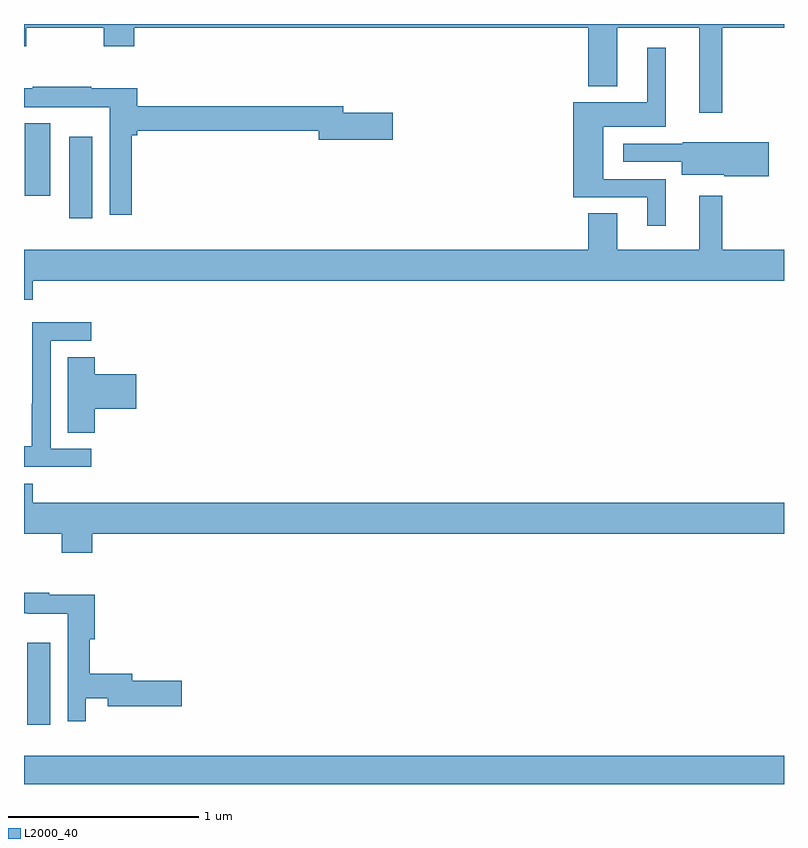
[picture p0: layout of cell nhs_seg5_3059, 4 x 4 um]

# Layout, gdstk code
import gdstk
lib = gdstk.Library(unit=1e-6, precision=1e-09)
def R(c, l, rs):  # rectangles x0, y0, x1, y1
    for r in rs: c.add(gdstk.rectangle(r[:2], r[2:], *l))
def P(c, l, *ps):  # polygons
    for p in ps: c.add(gdstk.Polygon(p, *l))
L2000_40 = (2000, 40)

nhs_seg5_3059 = lib.new_cell('nhs_seg5_3059')
R(nhs_seg5_3059, L2000_40, [(289,832.799,293,832.948), (289.016,833.112,289.138,833.542), (289.238,835.776,289.36,836.206), (289.004,835.896,289.138,836.276)])
P(nhs_seg5_3059, L2000_40, [(292.675,836.78),(293,836.78),(293,836.799),(289,836.799),(289,836.681),(289.011,836.681),(289.011,836.78),(289.42,836.78),(289.42,836.681),(289.58,836.681),(289.58,836.78),(291.971,836.78),(291.971,836.471),(292.123,836.471),(292.123,836.78),(292.553,836.78),(292.553,836.331),(292.675,836.331)],
  [(292.378,835.983),(292.048,835.983),(292.048,836.258),(292.378,836.258),(292.378,836.674),(292.28,836.674),(292.28,836.386),(291.89,836.386),(291.89,835.887),(292.28,835.887),(292.28,835.737),(292.378,835.737)],
  [(289.568,836.213),(289.595,836.213),(289.595,836.236),(290.552,836.236),(290.552,836.189),(290.941,836.189),(290.941,836.331),(290.68,836.331),(290.68,836.365),(289.595,836.365),(289.595,836.46),(289.355,836.46),(289.355,836.47),(289.045,836.47),(289.045,836.46),(289,836.46),(289,836.361),(289.242,836.361),(289.242,836.36),(289.452,836.36),(289.452,835.794),(289.568,835.794)],
  [(292.921,836.177),(292.467,836.177),(292.467,836.169),(292.155,836.169),(292.155,836.073),(292.463,836.073),(292.463,836.006),(292.686,836.006),(292.686,835.999),(292.921,835.999)],
  [(289.046,835.448),(293,835.448),(293,835.612),(292.675,835.612),(292.675,835.894),(292.553,835.894),(292.553,835.612),(292.123,835.612),(292.123,835.802),(291.971,835.802),(291.971,835.612),(289,835.612),(289,835.349),(289.046,835.349)],
  [(289.354,834.564),(289.14,834.564),(289.14,835.131),(289.354,835.131),(289.354,835.23),(289.044,835.23),(289.044,834.8),(289.042,834.8),(289.042,834.577),(289,834.577),(289,834.468),(289.354,834.468)],
  [(289.373,834.773),(289.591,834.773),(289.591,834.956),(289.373,834.956),(289.373,835.046),(289.229,835.046),(289.229,834.649),(289.373,834.649)],
  [(289.358,834.116),(293,834.116),(293,834.28),(289.046,834.28),(289.046,834.379),(289,834.379),(289,834.116),(289.198,834.116),(289.198,834.017),(289.358,834.017)],
  [(289.326,833.25),(289.442,833.25),(289.442,833.207),(289.831,833.207),(289.831,833.342),(289.57,833.342),(289.57,833.378),(289.346,833.378),(289.346,833.561),(289.373,833.561),(289.373,833.796),(289.133,833.796),(289.133,833.806),(289,833.806),(289,833.697),(289.02,833.697),(289.02,833.696),(289.23,833.696),(289.23,833.13),(289.326,833.13)])

lib.write_gds('nhs_seg5_3059.gds')
